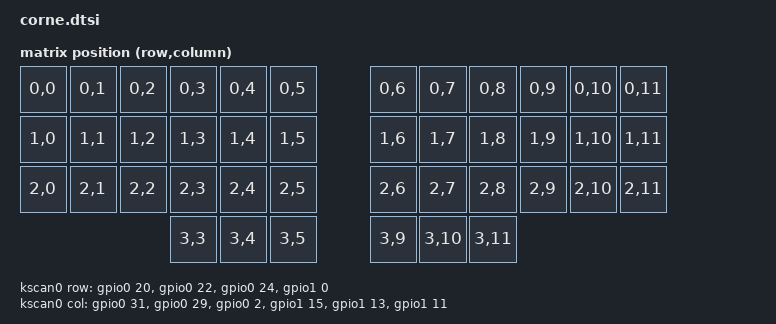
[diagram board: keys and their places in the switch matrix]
#include <dt-bindings/zmk/matrix_transform.h>
#include <dt-bindings/gpio/gpio.h>

/ {
	chosen {
		zmk,kscan = &kscan0;
		zmk,physical-layout = &physical_layout0;
	};

	kscan0: kscan_0 {
		compatible = "zmk,kscan-gpio-matrix";
		diode-direction = "col2row";

		// rows: top, middle, bottom, thumb — identical wiring on both halves
		row-gpios
			= <&gpio0 20 (GPIO_ACTIVE_HIGH | GPIO_PULL_DOWN)>  // row0 - top
			, <&gpio0 22 (GPIO_ACTIVE_HIGH | GPIO_PULL_DOWN)>  // row1 - middle
			, <&gpio0 24 (GPIO_ACTIVE_HIGH | GPIO_PULL_DOWN)>  // row2 - bottom
			, <&gpio1 0  (GPIO_ACTIVE_HIGH | GPIO_PULL_DOWN)>  // row3 - thumb
			;

		// cols, listed in the same left-to-right physical order on BOTH halves.
		// No reversal here — that's what avoids the mirroring problem.
		col-gpios
			= <&gpio0 31 GPIO_ACTIVE_HIGH>   // col0
			, <&gpio0 29 GPIO_ACTIVE_HIGH>   // col1
			, <&gpio0 2  GPIO_ACTIVE_HIGH>   // col2
			, <&gpio1 15 GPIO_ACTIVE_HIGH>   // col3
			, <&gpio1 13 GPIO_ACTIVE_HIGH>   // col4
			, <&gpio1 11 GPIO_ACTIVE_HIGH>   // col5
			;
	};

	default_transform: keymap_transform_0 {
		compatible = "zmk,matrix-transform";
		columns = <12>;
		rows = <4>;

		// left = cols 0-5, right = cols 6-11 (right overlay adds col-offset = <6>)
		// VERIFY: thumb cols assumed to be the middle three (2,3,4 / 8,9,10)
	map = 
			RC(0,0) RC(0,1) RC(0,2) RC(0,3) RC(0,4) RC(0,5)   RC(0,6) RC(0,7) RC(0,8) RC(0,9) RC(0,10) RC(0,11)
			RC(1,0) RC(1,1) RC(1,2) RC(1,3) RC(1,4) RC(1,5)   RC(1,6) RC(1,7) RC(1,8) RC(1,9) RC(1,10) RC(1,11)
			RC(2,0) RC(2,1) RC(2,2) RC(2,3) RC(2,4) RC(2,5)   RC(2,6) RC(2,7) RC(2,8) RC(2,9) RC(2,10) RC(2,11)
			                RC(3,3) RC(3,4) RC(3,5)                   RC(3,9) RC(3,10) RC(3,11)
		>;
	};

	physical_layout0: physical_layout_0 {
		compatible = "zmk,physical-layout";
		display-name = "Corne 42 (custom wiring)";
		transform = <&default_transform>;
		kscan = <&kscan0>;
	};
};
